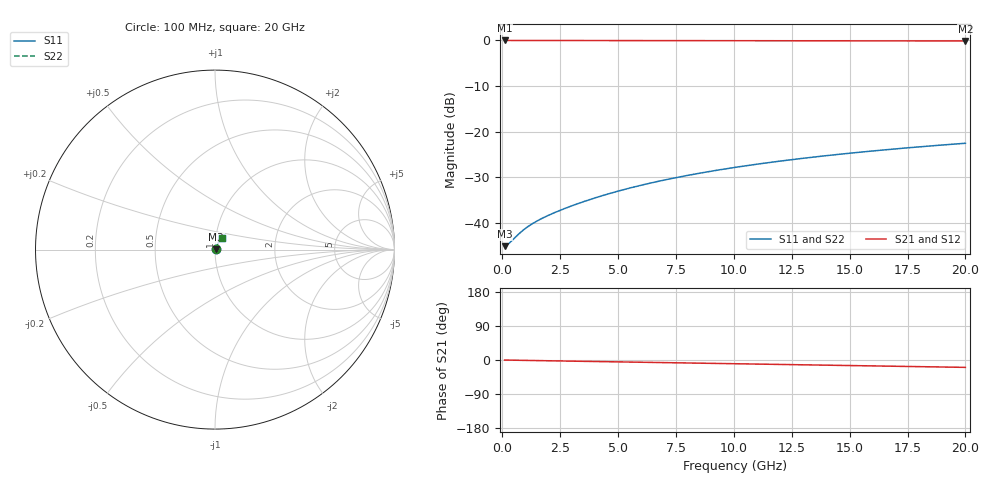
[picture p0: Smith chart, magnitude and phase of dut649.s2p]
! Touchstone file exported from HFSS 2026.1.0
!  File:  C:/ffzhzh/LocalFiles/Ansys_Project_Files/temp_train_TMRDL_649_1783009509_55676.aedt
!  Generated:  12:26:27 AM Jul  3, 2026
!  Design:  TMRDL
!  Project:  temp_train_TMRDL_649_1783009509_55676
! Variables:
!  h_bsmrdl = 2um
!  h_ox = 20um
!  h_rdl = 5um
!  h_sub = 80um
!  h_tmrdl = 2.07um
!  h_tsv = 80um
!  h_via = 3um
!  l_bsmrdl = 300um
!  l_sub = 741.74um
!  l_tmrdl = 341.74um
!  m_sub = 200um
!  pitch = 14.41um
!  r_tsv = 6um
!  s_tmrdl = 10um
!  w_bsmrdl = 18um
!  w_sub = 500um
!  w_tmrdl = 10.91um
!  x_tsv_center1 = 347.195um
!  x_tsv_center2 = 665.195um
!  x_tsv_center3 = 1017.845um
!  x_tsv_center4 = 1335.845um
!  x_tsv_center5 = 1688.495um
!  x_tsv_center6 = 2006.495um
# GHz S MA R 50.000000
! Terminal data exported
! Port[1] = TM_RDL1_1_T1
! Port[2] = TM_RDL1_1_T2
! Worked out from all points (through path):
!   200 points, 100 MHz to 20 GHz, reference 50 ohm
!   highest |S21| = -0.05 dB at 100 MHz (marker M1); lowest = -0.2 dB at 20 GHz (marker M2)
!   group delay of S21, straight-line fit = 2.69 ps
!   lowest |S11| = -45.1 dB at 100 MHz (marker M3), VSWR 1.01, Z = 50.6 + j0.0651 ohm
!   |S11| at or under -10 dB: start of sweep to end of sweep
!   |S22| runs from -45.1 to -22.5 dB; largest |S21 - S12| = 3.2e-15
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0.1  0.005587 6.6  0.9945 -0.1  0.9945 -0.1  0.005587 6.6
! Gamma 0 0 0 0
! Port Impedance 50 0 50 0
0.2  0.005761 12.8  0.9944 -0.2  0.9944 -0.2  0.005761 12.8
0.3  0.006028 18.3  0.9943 -0.3  0.9943 -0.3  0.006028 18.3
0.7  0.007551 32.4  0.9937 -0.8  0.9937 -0.8  0.007551 32.4
0.9  0.008357 36.2  0.9933 -1.0  0.9933 -1.0  0.008357 36.2
1.1  0.009123 39.1  0.993 -1.2  0.993 -1.2  0.009123 39.1
1.4  0.01019 42.5  0.9926 -1.5  0.9926 -1.5  0.01019 42.5
1.8  0.01153 46.1  0.9922 -1.9  0.9922 -1.9  0.01153 46.1
2.3  0.01314 49.9  0.9919 -2.3  0.9919 -2.3  0.01314 49.9
2.9  0.0151 53.6  0.9916 -2.9  0.9916 -2.9  0.0151 53.6
3.5  0.01711 56.5  0.9913 -3.5  0.9913 -3.5  0.01711 56.5
4.3  0.01987 59.4  0.991 -4.3  0.991 -4.3  0.01988 59.4
5.1  0.02271 61.5  0.9907 -5.1  0.9907 -5.1  0.02271 61.5
5.9  0.02558 62.9  0.9904 -5.9  0.9904 -5.9  0.02559 62.9
6.8  0.02885 63.9  0.9901 -6.7  0.9901 -6.7  0.02885 63.9
8.4  0.03467 64.8  0.9893 -8.3  0.9893 -8.3  0.03468 64.7
10.1  0.04083 64.9  0.9885 -9.9  0.9885 -9.9  0.04084 64.8
11.7  0.04655 64.4  0.9876 -11.5  0.9876 -11.5  0.04657 64.4
13.4  0.05255 63.7  0.9866 -13.1  0.9866 -13.1  0.05256 63.6
15  0.05809 62.7  0.9856 -14.7  0.9856 -14.7  0.05811 62.6
16.7  0.06385 61.6  0.9845 -16.3  0.9845 -16.3  0.06387 61.5
20  0.07464 59.1  0.9822 -19.5  0.9822 -19.5  0.07468 58.9
